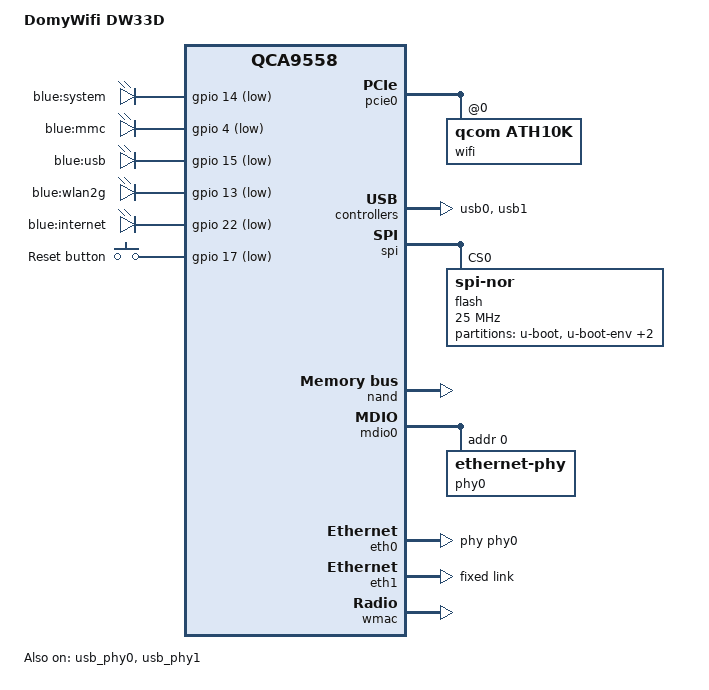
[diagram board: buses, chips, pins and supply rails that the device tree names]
// SPDX-License-Identifier: GPL-2.0-or-later OR MIT

#include "qca955x.dtsi"

#include <dt-bindings/gpio/gpio.h>
#include <dt-bindings/input/input.h>

/ {
	compatible = "domywifi,dw33d", "qca,qca9558";
	model = "DomyWifi DW33D";

	aliases {
		led-boot = &led_system;
		led-failsafe = &led_system;
		led-running = &led_system;
		led-upgrade = &led_system;
	};

	leds {
		compatible = "gpio-leds";

		led_system: system {
			label = "blue:system";
			gpios = <&gpio 14 GPIO_ACTIVE_LOW>;
		};

		mmc {
			label = "blue:mmc";
			gpios = <&gpio 4 GPIO_ACTIVE_LOW>;
			trigger-sources = <&hub_port0>;
			linux,default-trigger = "usbport";
		};

		usb {
			label = "blue:usb";
			gpios = <&gpio 15 GPIO_ACTIVE_LOW>;
			trigger-sources = <&hub_port1>;
			linux,default-trigger = "usbport";
		};

		wlan2g {
			label = "blue:wlan2g";
			gpios = <&gpio 13 GPIO_ACTIVE_LOW>;
			linux,default-trigger = "phy1tpt";
		};

		internet {
			label = "blue:internet";
			gpios = <&gpio 22 GPIO_ACTIVE_LOW>;
		};
	};

	keys {
		compatible = "gpio-keys";

		reset {
			label = "Reset button";
			linux,code = <KEY_RESTART>;
			gpios = <&gpio 17 GPIO_ACTIVE_LOW>;
			debounce-interval = <60>;
		};
	};
};

&pcie0 {
	status = "okay";

	wifi@0,0 {
		compatible = "qcom,ath10k";
		reg = <0 0 0 0 0>;
	};
};

&usb_phy0 {
	status = "okay";
};

&usb0 {
	#address-cells = <1>;
	#size-cells = <0>;
	status = "okay";

	hub_port0: port@1 {
		reg = <1>;
		#trigger-source-cells = <0>;
	};
};

&usb_phy1 {
	status = "okay";
};

&usb1 {
	#address-cells = <1>;
	#size-cells = <0>;
	status = "okay";

	hub_port1: port@1 {
		reg = <1>;
		#trigger-source-cells = <0>;
	};
};

&spi {
	status = "okay";

	flash@0 {
		compatible = "jedec,spi-nor";
		reg = <0>;
		spi-max-frequency = <25000000>;

		partitions {
			compatible = "fixed-partitions";
			#address-cells = <1>;
			#size-cells = <1>;

			partition@0 {
				label = "u-boot";
				reg = <0x0 0x40000>;
				read-only;
			};

			partition@40000 {
				label = "u-boot-env";
				reg = <0x40000 0x10000>;
			};

			partition@50000 {
				label = "oem-firmware";
				reg = <0x50000 0xfa0000>;
			};

			art: partition@ff0000 {
				label = "art";
				reg = <0xff0000 0x10000>;
				read-only;
			};
		};
	};
};

&nand {
	status = "okay";

	partitions {
		compatible = "fixed-partitions";
		#address-cells = <1>;
		#size-cells = <1>;

		partition@0 {
			label = "kernel";
			reg = <0x0 0x500000>;
		};

		partition@500000 {
			label = "ubi";
			reg = <0x500000 0x5b00000>;
		};

		partition@6000000 {
			label = "oem-backup";
			reg = <0x6000000 0x2000000>;
		};
	};
};

&mdio0 {
	status = "okay";

	phy0: ethernet-phy@0 {
		reg = <0>;

		qca,ar8327-initvals = <
			0x04 0x87600000 /* PORT0 PAD MODE CTRL */
			0x0c 0x00080080 /* PORT6 PAD MODE CTRL */
			0x7c 0x0000007e /* PORT0_STATUS */
			0x94 0x0000007e /* PORT6 STATUS */
			>;
	};
};

&eth0 {
	status = "okay";

	nvmem-cells = <&macaddr_art_0>;
	nvmem-cell-names = "mac-address";
	pll-data = <0x56000000 0x00000101 0x00001616>;
	phy-handle = <&phy0>;
};

&eth1 {
	status = "okay";

	nvmem-cells = <&macaddr_art_6>;
	nvmem-cell-names = "mac-address";
	pll-data = <0x03000101 0x00000101 0x00001616>;
	fixed-link {
		speed = <1000>;
		full-duplex;
	};
};

&wmac {
	status = "okay";

	mtd-cal-data = <&art 0x1000>;
	nvmem-cells = <&macaddr_art_c>;
	nvmem-cell-names = "mac-address";
};

&art {
	compatible = "nvmem-cells";
	#address-cells = <1>;
	#size-cells = <1>;

	macaddr_art_0: macaddr@0 {
		reg = <0x0 0x6>;
	};

	macaddr_art_6: macaddr@6 {
		reg = <0x6 0x6>;
	};

	macaddr_art_c: macaddr@c {
		reg = <0xc 0x6>;
	};
};
